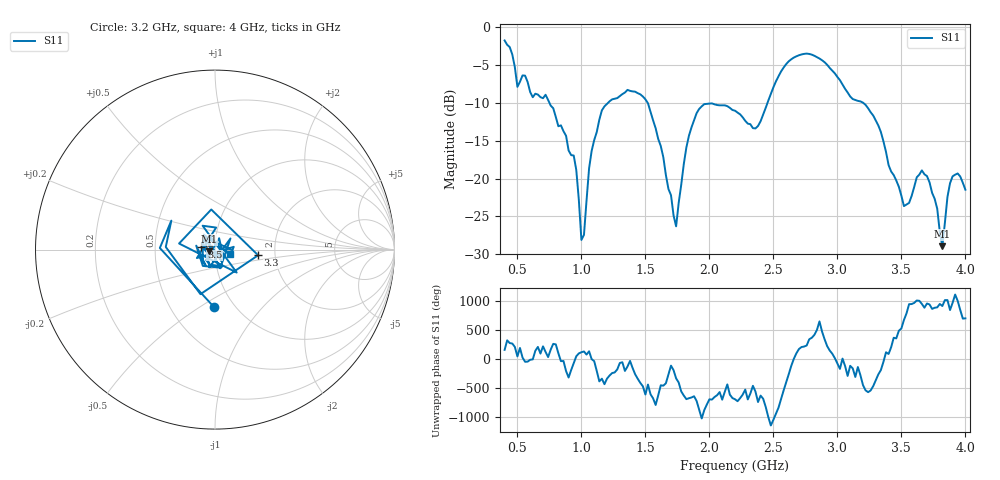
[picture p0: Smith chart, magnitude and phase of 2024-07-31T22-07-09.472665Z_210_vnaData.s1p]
!Created with skrf (http://scikit-rf.org).
# Hz S RI R 50.0
!freq ReS11 ImS11
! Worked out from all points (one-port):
!   181 points, 400 MHz to 4 GHz, reference 50 ohm
!   lowest |S11| = -28.9 dB at 3.82 GHz (marker M1), VSWR 1.07, Z = 46.7 - j0.984 ohm
!   |S11| at or under -10 dB: 750.7 MHz to 1.206 GHz (455.6 MHz wide, 46.6 % of centre); 1.519 GHz to 2.453 GHz (934.7 MHz wide, 47.1 % of centre); 3.203 GHz to end of sweep
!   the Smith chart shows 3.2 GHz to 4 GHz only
!   S11 on the Smith chart (normalised r, x): 3.2 GHz: 0.80, -0.57; 3.3 GHz: 1.63, -0.11; 3.5 GHz: 0.86, +0.03; 4 GHz: 1.18, -0.06
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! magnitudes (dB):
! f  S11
! 400 MHz  -1.7
! 500 MHz  -7.9
! 720 MHz  -8.9
! 860 MHz  -13.7
! 960 MHz  -18.9
! 1 GHz  -28.1
! 1.02 GHz  -27.4
! 1.08 GHz  -16.3
! 1.14 GHz  -12.2
! 1.3 GHz  -9.1
! 1.52 GHz  -10.0
! 1.74 GHz  -26.3
! 1.76 GHz  -23.2
! 1.84 GHz  -14.3
! 1.92 GHz  -10.8
! 2.2 GHz  -11.0
! 2.36 GHz  -13.4
! 2.66 GHz  -4.0
! 2.88 GHz  -4.3
! 3.1 GHz  -9.1
! 3.2 GHz  -10.0
! 3.3 GHz  -12.3
! 3.5 GHz  -22.3
! 3.56 GHz  -23.2
! 3.7 GHz  -19.7
! 3.82 GHz  -28.9
! 3.9 GHz  -19.7
! 4 GHz  -21.5
